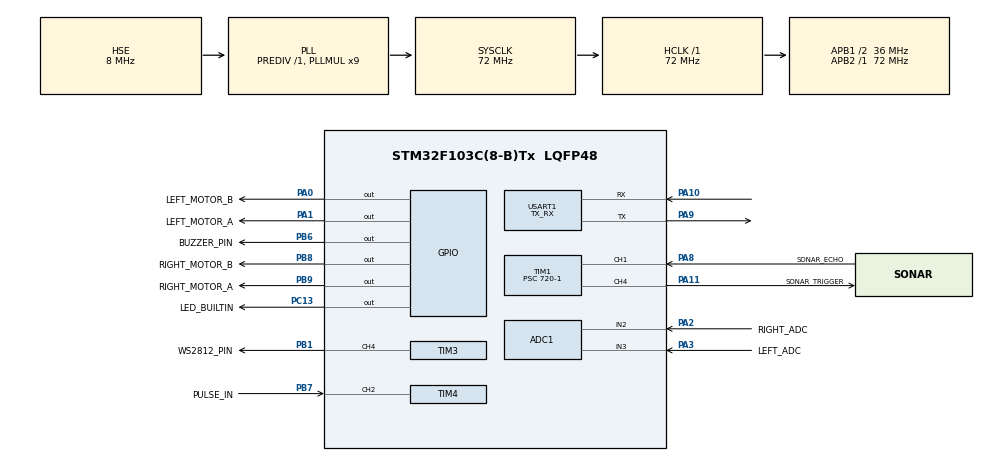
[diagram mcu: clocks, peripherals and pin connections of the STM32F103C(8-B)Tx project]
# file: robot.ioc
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ADC1.Channel-4\#ChannelRegularConversion=ADC_CHANNEL_2
ADC1.Channel-5\#ChannelRegularConversion=ADC_CHANNEL_3
ADC1.ContinuousConvMode=ENABLE
ADC1.NbrOfConversion=2
ADC1.NbrOfConversionFlag=1
ADC1.Rank-4\#ChannelRegularConversion=1
ADC1.Rank-5\#ChannelRegularConversion=2
ADC1.SamplingTime-4\#ChannelRegularConversion=ADC_SAMPLETIME_1CYCLE_5
ADC1.SamplingTime-5\#ChannelRegularConversion=ADC_SAMPLETIME_1CYCLE_5
ADC1.master=1
Dma.ADC1.0.Direction=DMA_PERIPH_TO_MEMORY
Dma.ADC1.0.Instance=DMA1_Channel1
Dma.ADC1.0.MemDataAlignment=DMA_MDATAALIGN_HALFWORD
Dma.ADC1.0.MemInc=DMA_MINC_ENABLE
Dma.ADC1.0.Mode=DMA_CIRCULAR
Dma.ADC1.0.PeriphDataAlignment=DMA_PDATAALIGN_HALFWORD
Dma.ADC1.0.PeriphInc=DMA_PINC_DISABLE
Dma.ADC1.0.Priority=DMA_PRIORITY_LOW
Dma.Request0=ADC1
Dma.Request1=TIM3_CH4/UP
Dma.TIM3_CH4/UP.1.Direction=DMA_MEMORY_TO_PERIPH
Dma.TIM3_CH4/UP.1.Instance=DMA1_Channel3
Dma.TIM3_CH4/UP.1.MemDataAlignment=DMA_MDATAALIGN_BYTE
Dma.TIM3_CH4/UP.1.MemInc=DMA_MINC_ENABLE
Dma.TIM3_CH4/UP.1.Mode=DMA_NORMAL
Dma.TIM3_CH4/UP.1.PeriphDataAlignment=DMA_PDATAALIGN_HALFWORD
Dma.TIM3_CH4/UP.1.PeriphInc=DMA_PINC_DISABLE
Dma.TIM3_CH4/UP.1.Priority=DMA_PRIORITY_MEDIUM
Mcu.Family=STM32F1
Mcu.Name=STM32F103C(8-B)Tx
Mcu.Package=LQFP48
NVIC.DMA1_Channel1_IRQn=true\:0\:0\:false\:false\:true\:false\:true\:true
NVIC.DMA1_Channel3_IRQn=true\:0\:0\:false\:false\:true\:false\:true\:true
NVIC.PriorityGroup=NVIC_PRIORITYGROUP_4
NVIC.TIM1_CC_IRQn=true\:0\:0\:false\:false\:true\:true\:true\:true
NVIC.TIM1_UP_IRQn=true\:0\:0\:false\:false\:true\:true\:true\:true
NVIC.TIM2_IRQn=true\:0\:0\:false\:false\:true\:true\:true\:true
NVIC.TIM4_IRQn=true\:0\:0\:false\:false\:true\:true\:true\:true
PA0-WKUP.GPIO_Label=LEFT_MOTOR_B
PA0-WKUP.Signal=GPIO_Output
PA1.GPIO_Label=LEFT_MOTOR_A
PA1.Signal=GPIO_Output
PA10.Mode=Asynchronous
PA10.Signal=USART1_RX
PA11.GPIO_Label=SONAR_TRIGGER
PA11.Signal=S_TIM1_CH4
PA2.GPIO_Label=RIGHT_ADC
PA2.Signal=ADCx_IN2
PA3.GPIO_Label=LEFT_ADC
PA3.Signal=ADCx_IN3
PA8.GPIO_Label=SONAR_ECHO
PA8.Signal=S_TIM1_CH1
PA9.Mode=Asynchronous
PA9.Signal=USART1_TX
PB1.GPIO_Label=WS2812_PIN
PB1.Signal=S_TIM3_CH4
PB6.GPIO_Label=BUZZER_PIN
PB6.GPIO_ModeDefaultOutputPP=GPIO_MODE_OUTPUT_PP
PB6.GPIO_PuPd=GPIO_NOPULL
PB6.PinState=GPIO_PIN_RESET
PB6.Signal=GPIO_Output
PB7.GPIO_Label=PULSE_IN
PB7.Signal=S_TIM4_CH2
PB8.GPIO_Label=RIGHT_MOTOR_B
PB8.Signal=GPIO_Output
PB9.GPIO_Label=RIGHT_MOTOR_A
PB9.Signal=GPIO_Output
PC13-TAMPER-RTC.GPIO_Label=LED_BUILTIN
PC13-TAMPER-RTC.Signal=GPIO_Output
PD0-OSC_IN.Mode=HSE-External-Oscillator
PD0-OSC_IN.Signal=RCC_OSC_IN
PD1-OSC_OUT.Mode=HSE-External-Oscillator
PD1-OSC_OUT.Signal=RCC_OSC_OUT
ProjectManager.HeapSize=0x200
ProjectManager.StackSize=0x400
ProjectManager.TargetToolchain=STM32CubeIDE
RCC.ADCPresc=RCC_ADCPCLK2_DIV6
RCC.AHBFreq_Value=72000000
RCC.APB1CLKDivider=RCC_HCLK_DIV2
RCC.APB1Freq_Value=36000000
RCC.APB1TimFreq_Value=72000000
RCC.APB2Freq_Value=72000000
RCC.APB2TimFreq_Value=72000000
RCC.HCLKFreq_Value=72000000
RCC.PLLMUL=RCC_PLL_MUL9
RCC.PLLSourceVirtual=RCC_PLLSOURCE_HSE
RCC.SYSCLKFreq_VALUE=72000000
RCC.SYSCLKSource=RCC_SYSCLKSOURCE_PLLCLK
RCC.USBFreq_Value=72000000
SH.ADCx_IN2.0=ADC1_IN2,IN2
SH.ADCx_IN3.0=ADC1_IN3,IN3
SH.S_TIM1_CH1.0=TIM1_CH1,Input_Capture1_from_TI1
SH.S_TIM1_CH4.0=TIM1_CH4,PWM Generation4 CH4
SH.S_TIM3_CH4.0=TIM3_CH4,PWM Generation4 CH4
SH.S_TIM4_CH2.0=TIM4_CH2,Input_Capture2_from_TI2
TIM1.Channel-Input_Capture1_from_TI1=TIM_CHANNEL_1
TIM1.Channel-PWM\ Generation4\ CH4=TIM_CHANNEL_4
TIM1.Period=2000-1
TIM1.Prescaler=720-1
TIM1.Pulse-PWM\ Generation4\ CH4=1
TIM2.Period=5000-1
TIM2.Prescaler=7200-1
TIM3.Channel-PWM\ Generation4\ CH4=TIM_CHANNEL_4
TIM3.Period=90-1
TIM4.Channel-Input_Capture2_from_TI2=TIM_CHANNEL_2
TIM4.ICPolarity_CH2=TIM_INPUTCHANNELPOLARITY_FALLING
TIM4.Prescaler=7200-1
USART1.Mode=MODE_TX_RX
USART1.VirtualMode=VM_ASYNC
VP_SYS_VS_ND.Mode=No_Debug
VP_TIM1_VS_ClockSourceINT.Mode=Internal
VP_TIM2_VS_ClockSourceINT.Mode=Internal
VP_TIM3_VS_ClockSourceINT.Mode=Internal
VP_TIM4_VS_ClockSourceINT.Mode=Internal
board=custom

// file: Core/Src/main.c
/* USER CODE BEGIN Header */
/**
 ******************************************************************************
 * @file           : main.c
 * @brief          : Main program body
 ******************************************************************************
 * @attention
 *
 * Copyright (c) 2023 STMicroelectronics.
 * All rights reserved.
 *
 * This software is licensed under terms that can be found in the LICENSE file
 * in the root directory of this software component.
 * If no LICENSE file comes with this software, it is provided AS-IS.
 *
 ******************************************************************************
 */
/* USER CODE END Header */
#include "main.h"

/* USER CODE BEGIN Includes */
#include <stdio.h>
#include <string.h>
#include <math.h>

/* USER CODE END Includes */

/* USER CODE BEGIN PD */
#define DEBUGGING
/* USER CODE END PD */

ADC_HandleTypeDef hadc1;
DMA_HandleTypeDef hdma_adc1;

TIM_HandleTypeDef htim1;
TIM_HandleTypeDef htim2;
TIM_HandleTypeDef htim3;
TIM_HandleTypeDef htim4;
DMA_HandleTypeDef hdma_tim3_ch4_up;

UART_HandleTypeDef huart1;

/* USER CODE BEGIN PV */
uint8_t WS2812Buffer[24 * LED_COUNT] = {0};
unsigned short LEDStep = 0;

uint16_t ADCBuffer[100];

char StringBuffer[100];

unsigned int TIM4LastFallingEdge;
unsigned int TIM4FallingEdge;
unsigned int ReceivedPeriodBuffer;
unsigned int ReceivedPeriod;

unsigned int SonarRisingEdge;
unsigned int SonarFallingEdge;
unsigned int SonarOverflowCount = 0;
long SonarPulse;
unsigned int SonarPulsePolarity = 1;

int Mode = 0; // 0 = track, 1 = controlled
/* USER CODE END PV */

void SystemClock_Config(void);
static void MX_GPIO_Init(void);
static void MX_DMA_Init(void);
static void MX_ADC1_Init(void);
static void MX_USART1_UART_Init(void);
static void MX_TIM4_Init(void);
static void MX_TIM3_Init(void);
static void MX_TIM1_Init(void);
static void MX_TIM2_Init(void);
/* USER CODE BEGIN PFP */
void SetColor(unsigned int index, unsigned short r, unsigned short g, unsigned short b);
void SetColorAll(unsigned short r, unsigned short g, unsigned short b);
void Rainbow(int length, float phase, float brightness);
void LeftMotor(int a, int b);
void RightMotor(int a, int b);
void SetTailLights(unsigned short r, unsigned short g, unsigned short b);
/* USER CODE END PFP */

int main(void)
{

    /* MCU Configuration--------------------------------------------------------*/

    /* Reset of all peripherals, Initializes the Flash interface and the Systick. */
    HAL_Init();

    /* Configure the system clock */
    SystemClock_Config();

    /* Initialize all configured peripherals */
    MX_GPIO_Init();
    MX_DMA_Init();
    MX_ADC1_Init();
    MX_USART1_UART_Init();
    MX_TIM4_Init();
    MX_TIM3_Init();
    MX_TIM1_Init();
    MX_TIM2_Init();
    /* USER CODE BEGIN 2 */
    HAL_ADC_Start_DMA(&hadc1, ADCBuffer, ARRAYLEN(ADCBuffer));

    LEFTSTOP();
    RIGHTSTOP();

    SetColorAll(0, 0, 0);

    sprintf(StringBuffer, "Start\r\n");
    HAL_UART_Transmit(&huart1, StringBuffer, strlen(StringBuffer), 10);
    /* USER CODE END 2 */

    /* Infinite loop */
    /* USER CODE BEGIN WHILE */
    while (1)
    {
        switch (Mode)
        {
        case 0: // tracking mode
            if (SonarPulse < 40)
            {
                HAL_GPIO_WritePin(BUZZER_PIN_GPIO_Port, BUZZER_PIN_Pin, 1);
            }
            else
            {
                HAL_GPIO_WritePin(BUZZER_PIN_GPIO_Port, BUZZER_PIN_Pin, 0);
            }
#ifdef DEBUGGING
            sprintf(StringBuffer, "Mode 0 ADC: %4d %4d Sonar: %d OV: %d\r\n", LEFTADC, RIGHTADC, SonarPulse, SonarOverflowCount);
            HAL_UART_Transmit(&huart1, StringBuffer, strlen(StringBuffer), 10);
            HAL_Delay(10);
#endif

            if (LEFTADC < TARGETADCLEFT - DEADZONE)
            {
                LEFTFORWARD();
            }
            else if (LEFTADC > TARGETADCLEFT + DEADZONE)
            {
                LEFTREVERSE();
            }
            else
            {
                LEFTSTOP();
            }

            if (RIGHTADC < TARGETADCRIGHT - DEADZONE)
            {
                RIGHTFORWARD();
            }
            else if (RIGHTADC > TARGETADCRIGHT + DEADZONE)
            {
                RIGHTREVERSE();
            }
            else
            {
                RIGHTSTOP();
            }
            break;
        case 1: // controlled mode
#ifdef DEBUGGING
            sprintf(StringBuffer, "Mode 1 PeriodB: %4d Period: %4d\r\n", ReceivedPeriodBuffer, ReceivedPeriod);
            HAL_UART_Transmit(&huart1, StringBuffer, strlen(StringBuffer), 10);
            HAL_Delay(10);
#endif
            ReceivedPeriod = ReceivedPeriodBuffer;
            if (COMPARE(ReceivedPeriod, 600, 25)) // forward
            {
                if (SonarPulse > 30)
                {
                    LEFTFORWARD();
                    RIGHTFORWARD();
                    SetTailLights(0, 0, 0);
                    HAL_GPIO_WritePin(BUZZER_PIN_GPIO_Port, BUZZER_PIN_Pin, 0);
                }
                else
                {
                    SetTailLights(30, 0, 0);
                    HAL_GPIO_WritePin(BUZZER_PIN_GPIO_Port, BUZZER_PIN_Pin, 1);
                }
            }
            else if (COMPARE(ReceivedPeriod, 650, 25)) // forward right
            {
                LEFTFORWARD();
                RIGHTSTOP();
                SetTailLights(0, 0, 0);
                HAL_GPIO_WritePin(BUZZER_PIN_GPIO_Port, BUZZER_PIN_Pin, 0);
            }
            else if (COMPARE(ReceivedPeriod, 700, 25)) // right
            {
                LEFTFORWARD();
                RIGHTREVERSE();
                SetTailLights(0, 0, 0);
                HAL_GPIO_WritePin(BUZZER_PIN_GPIO_Port, BUZZER_PIN_Pin, 0);
            }
            else if (COMPARE(ReceivedPeriod, 750, 25)) // reverse right
            {
                LEFTSTOP();
                RIGHTREVERSE();
                SetTailLights(10, 10, 10);
                HAL_GPIO_WritePin(BUZZER_PIN_GPIO_Port, BUZZER_PIN_Pin, 1);
            }
            else if (COMPARE(ReceivedPeriod, 800, 25)) // reverse
            {
                LEFTREVERSE();
                RIGHTREVERSE();
                SetTailLights(10, 10, 10);
                HAL_GPIO_WritePin(BUZZER_PIN_GPIO_Port, BUZZER_PIN_Pin, 1);
            }
            else if (COMPARE(ReceivedPeriod, 850, 25)) // reverse left
            {
                LEFTREVERSE();
                RIGHTSTOP();
                SetTailLights(10, 10, 10);
                HAL_GPIO_WritePin(BUZZER_PIN_GPIO_Port, BUZZER_PIN_Pin, 1);
            }
            else if (COMPARE(ReceivedPeriod, 900, 25)) // left
            {
                LEFTREVERSE();
                RIGHTFORWARD();
                SetTailLights(0, 0, 0);
                HAL_GPIO_WritePin(BUZZER_PIN_GPIO_Port, BUZZER_PIN_Pin, 0);
            }
            else if (COMPARE(ReceivedPeriod, 950, 25)) // forward left
            {
                LEFTSTOP();
                RIGHTFORWARD();
                SetTailLights(0, 0, 0);
                HAL_GPIO_WritePin(BUZZER_PIN_GPIO_Port, BUZZER_PIN_Pin, 0);
            }
            else // stop
            {
                LEFTSTOP();
                RIGHTSTOP();
                SetTailLights(30, 0, 0);
                HAL_GPIO_WritePin(BUZZER_PIN_GPIO_Port, BUZZER_PIN_Pin, 0);
            }
            break;
        default:
            break;
        }

        /* USER CODE END WHILE */

    }
}

void SystemClock_Config(void)
{
    RCC_OscInitTypeDef RCC_OscInitStruct = {0};
    RCC_ClkInitTypeDef RCC_ClkInitStruct = {0};
    RCC_PeriphCLKInitTypeDef PeriphClkInit = {0};

    /** Initializes the RCC Oscillators according to the specified parameters
     * in the RCC_OscInitTypeDef structure.
     */
    RCC_OscInitStruct.OscillatorType = RCC_OSCILLATORTYPE_HSE;
    RCC_OscInitStruct.HSEState = RCC_HSE_ON;
    RCC_OscInitStruct.HSEPredivValue = RCC_HSE_PREDIV_DIV1;
    RCC_OscInitStruct.HSIState = RCC_HSI_ON;
    RCC_OscInitStruct.PLL.PLLState = RCC_PLL_ON;
    RCC_OscInitStruct.PLL.PLLSource = RCC_PLLSOURCE_HSE;
    RCC_OscInitStruct.PLL.PLLMUL = RCC_PLL_MUL9;
    if (HAL_RCC_OscConfig(&RCC_OscInitStruct) != HAL_OK)
    {
        Error_Handler();
    }

    /** Initializes the CPU, AHB and APB buses clocks
     */
    RCC_ClkInitStruct.ClockType = RCC_CLOCKTYPE_HCLK | RCC_CLOCKTYPE_SYSCLK | RCC_CLOCKTYPE_PCLK1 | RCC_CLOCKTYPE_PCLK2;
    RCC_ClkInitStruct.SYSCLKSource = RCC_SYSCLKSOURCE_PLLCLK;
    RCC_ClkInitStruct.AHBCLKDivider = RCC_SYSCLK_DIV1;
    RCC_ClkInitStruct.APB1CLKDivider = RCC_HCLK_DIV2;
    RCC_ClkInitStruct.APB2CLKDivider = RCC_HCLK_DIV1;

    if (HAL_RCC_ClockConfig(&RCC_ClkInitStruct, FLASH_LATENCY_2) != HAL_OK)
    {
        Error_Handler();
    }
    PeriphClkInit.PeriphClockSelection = RCC_PERIPHCLK_ADC;
    PeriphClkInit.AdcClockSelection = RCC_ADCPCLK2_DIV6;
    if (HAL_RCCEx_PeriphCLKConfig(&PeriphClkInit) != HAL_OK)
    {
        Error_Handler();
    }
}

static void MX_ADC1_Init(void)
{

    ADC_ChannelConfTypeDef sConfig = {0};

    /** Common config
     */
    hadc1.Instance = ADC1;
    hadc1.Init.ScanConvMode = ADC_SCAN_ENABLE;
    hadc1.Init.ContinuousConvMode = ENABLE;
    hadc1.Init.DiscontinuousConvMode = DISABLE;
    hadc1.Init.ExternalTrigConv = ADC_SOFTWARE_START;
    hadc1.Init.DataAlign = ADC_DATAALIGN_RIGHT;
    hadc1.Init.NbrOfConversion = 2;
    if (HAL_ADC_Init(&hadc1) != HAL_OK)
    {
        Error_Handler();
    }

    /** Configure Regular Channel
     */
    sConfig.Channel = ADC_CHANNEL_2;
    sConfig.Rank = ADC_REGULAR_RANK_1;
    sConfig.SamplingTime = ADC_SAMPLETIME_1CYCLE_5;
    if (HAL_ADC_ConfigChannel(&hadc1, &sConfig) != HAL_OK)
    {
        Error_Handler();
    }

    /** Configure Regular Channel
     */
    sConfig.Channel = ADC_CHANNEL_3;
    sConfig.Rank = ADC_REGULAR_RANK_2;
    if (HAL_ADC_ConfigChannel(&hadc1, &sConfig) != HAL_OK)
    {
        Error_Handler();
    }
}

static void MX_TIM1_Init(void)
{

    TIM_ClockConfigTypeDef sClockSourceConfig = {0};
    TIM_MasterConfigTypeDef sMasterConfig = {0};
    TIM_IC_InitTypeDef sConfigIC = {0};
    TIM_OC_InitTypeDef sConfigOC = {0};
    TIM_BreakDeadTimeConfigTypeDef sBreakDeadTimeConfig = {0};

    htim1.Instance = TIM1;
    htim1.Init.Prescaler = 720 - 1;
    htim1.Init.CounterMode = TIM_COUNTERMODE_UP;
    htim1.Init.Period = 2000 - 1;
    htim1.Init.ClockDivision = TIM_CLOCKDIVISION_DIV1;
    htim1.Init.RepetitionCounter = 0;
    htim1.Init.AutoReloadPreload = TIM_AUTORELOAD_PRELOAD_DISABLE;
    if (HAL_TIM_Base_Init(&htim1) != HAL_OK)
    {
        Error_Handler();
    }
    sClockSourceConfig.ClockSource = TIM_CLOCKSOURCE_INTERNAL;
    if (HAL_TIM_ConfigClockSource(&htim1, &sClockSourceConfig) != HAL_OK)
    {
        Error_Handler();
    }
    if (HAL_TIM_IC_Init(&htim1) != HAL_OK)
    {
        Error_Handler();
    }
    if (HAL_TIM_PWM_Init(&htim1) != HAL_OK)
    {
        Error_Handler();
    }
    sMasterConfig.MasterOutputTrigger = TIM_TRGO_RESET;
    sMasterConfig.MasterSlaveMode = TIM_MASTERSLAVEMODE_DISABLE;
    if (HAL_TIMEx_MasterConfigSynchronization(&htim1, &sMasterConfig) != HAL_OK)
    {
        Error_Handler();
    }
    sConfigIC.ICPolarity = TIM_INPUTCHANNELPOLARITY_RISING;
    sConfigIC.ICSelection = TIM_ICSELECTION_DIRECTTI;
    sConfigIC.ICPrescaler = TIM_ICPSC_DIV1;
    sConfigIC.ICFilter = 0;
    if (HAL_TIM_IC_ConfigChannel(&htim1, &sConfigIC, TIM_CHANNEL_1) != HAL_OK)
    {
        Error_Handler();
    }
    sConfigOC.OCMode = TIM_OCMODE_PWM1;
    sConfigOC.Pulse = 1;
    sConfigOC.OCPolarity = TIM_OCPOLARITY_HIGH;
    sConfigOC.OCFastMode = TIM_OCFAST_DISABLE;
    sConfigOC.OCIdleState = TIM_OCIDLESTATE_RESET;
    sConfigOC.OCNIdleState = TIM_OCNIDLESTATE_RESET;
    if (HAL_TIM_PWM_ConfigChannel(&htim1, &sConfigOC, TIM_CHANNEL_4) != HAL_OK)
    {
        Error_Handler();
    }
    sBreakDeadTimeConfig.OffStateRunMode = TIM_OSSR_DISABLE;
    sBreakDeadTimeConfig.OffStateIDLEMode = TIM_OSSI_DISABLE;
    sBreakDeadTimeConfig.LockLevel = TIM_LOCKLEVEL_OFF;
    sBreakDeadTimeConfig.DeadTime = 0;
    sBreakDeadTimeConfig.BreakState = TIM_BREAK_DISABLE;
    sBreakDeadTimeConfig.BreakPolarity = TIM_BREAKPOLARITY_HIGH;
    sBreakDeadTimeConfig.AutomaticOutput = TIM_AUTOMATICOUTPUT_DISABLE;
    if (HAL_TIMEx_ConfigBreakDeadTime(&htim1, &sBreakDeadTimeConfig) != HAL_OK)
    {
        Error_Handler();
    }
    /* USER CODE BEGIN TIM1_Init 2 */
    HAL_TIM_Base_Start_IT(&htim1);
    HAL_TIM_IC_Start_IT(&htim1, TIM_CHANNEL_1);
    HAL_TIM_PWM_Start(&htim1, TIM_CHANNEL_4);
    /* USER CODE END TIM1_Init 2 */
    HAL_TIM_MspPostInit(&htim1);
}

static void MX_TIM2_Init(void)
{

    TIM_ClockConfigTypeDef sClockSourceConfig = {0};
    TIM_MasterConfigTypeDef sMasterConfig = {0};

    htim2.Instance = TIM2;
    htim2.Init.Prescaler = 7200 - 1;
    htim2.Init.CounterMode = TIM_COUNTERMODE_UP;
    htim2.Init.Period = 5000 - 1;
    htim2.Init.ClockDivision = TIM_CLOCKDIVISION_DIV1;
    htim2.Init.AutoReloadPreload = TIM_AUTORELOAD_PRELOAD_DISABLE;
    if (HAL_TIM_Base_Init(&htim2) != HAL_OK)
    {
        Error_Handler();
    }
    sClockSourceConfig.ClockSource = TIM_CLOCKSOURCE_INTERNAL;
    if (HAL_TIM_ConfigClockSource(&htim2, &sClockSourceConfig) != HAL_OK)
    {
        Error_Handler();
    }
    sMasterConfig.MasterOutputTrigger = TIM_TRGO_RESET;
    sMasterConfig.MasterSlaveMode = TIM_MASTERSLAVEMODE_DISABLE;
    if (HAL_TIMEx_MasterConfigSynchronization(&htim2, &sMasterConfig) != HAL_OK)
    {
        Error_Handler();
    }
    /* USER CODE BEGIN TIM2_Init 2 */
    HAL_TIM_Base_Start_IT(&htim2);
    /* USER CODE END TIM2_Init 2 */
}

static void MX_TIM3_Init(void)
{

    TIM_ClockConfigTypeDef sClockSourceConfig = {0};
    TIM_MasterConfigTypeDef sMasterConfig = {0};
    TIM_OC_InitTypeDef sConfigOC = {0};

    htim3.Instance = TIM3;
    htim3.Init.Prescaler = 0;
    htim3.Init.CounterMode = TIM_COUNTERMODE_UP;
    htim3.Init.Period = 90 - 1;
    htim3.Init.ClockDivision = TIM_CLOCKDIVISION_DIV1;
    htim3.Init.AutoReloadPreload = TIM_AUTORELOAD_PRELOAD_DISABLE;
    if (HAL_TIM_Base_Init(&htim3) != HAL_OK)
    {
        Error_Handler();
    }
    sClockSourceConfig.ClockSource = TIM_CLOCKSOURCE_INTERNAL;
    if (HAL_TIM_ConfigClockSource(&htim3, &sClockSourceConfig) != HAL_OK)
    {
        Error_Handler();
    }
    if (HAL_TIM_PWM_Init(&htim3) != HAL_OK)
    {
        Error_Handler();
    }
    sMasterConfig.MasterOutputTrigger = TIM_TRGO_RESET;
    sMasterConfig.MasterSlaveMode = TIM_MASTERSLAVEMODE_DISABLE;
    if (HAL_TIMEx_MasterConfigSynchronization(&htim3, &sMasterConfig) != HAL_OK)
    {
        Error_Handler();
    }
    sConfigOC.OCMode = TIM_OCMODE_PWM1;
    sConfigOC.Pulse = 0;
    sConfigOC.OCPolarity = TIM_OCPOLARITY_HIGH;
    sConfigOC.OCFastMode = TIM_OCFAST_DISABLE;
    if (HAL_TIM_PWM_ConfigChannel(&htim3, &sConfigOC, TIM_CHANNEL_4) != HAL_OK)
    {
        Error_Handler();
    }
    HAL_TIM_MspPostInit(&htim3);
}

static void MX_TIM4_Init(void)
{

    TIM_ClockConfigTypeDef sClockSourceConfig = {0};
    TIM_MasterConfigTypeDef sMasterConfig = {0};
    TIM_IC_InitTypeDef sConfigIC = {0};

    htim4.Instance = TIM4;
    htim4.Init.Prescaler = 7200 - 1;
    htim4.Init.CounterMode = TIM_COUNTERMODE_UP;
    htim4.Init.Period = 65535;
    htim4.Init.ClockDivision = TIM_CLOCKDIVISION_DIV1;
    htim4.Init.AutoReloadPreload = TIM_AUTORELOAD_PRELOAD_DISABLE;
    if (HAL_TIM_Base_Init(&htim4) != HAL_OK)
    {
        Error_Handler();
    }
    sClockSourceConfig.ClockSource = TIM_CLOCKSOURCE_INTERNAL;
    if (HAL_TIM_ConfigClockSource(&htim4, &sClockSourceConfig) != HAL_OK)
    {
        Error_Handler();
    }
    if (HAL_TIM_IC_Init(&htim4) != HAL_OK)
    {
        Error_Handler();
    }
    sMasterConfig.MasterOutputTrigger = TIM_TRGO_RESET;
    sMasterConfig.MasterSlaveMode = TIM_MASTERSLAVEMODE_DISABLE;
    if (HAL_TIMEx_MasterConfigSynchronization(&htim4, &sMasterConfig) != HAL_OK)
    {
        Error_Handler();
    }
    sConfigIC.ICPolarity = TIM_INPUTCHANNELPOLARITY_FALLING;
    sConfigIC.ICSelection = TIM_ICSELECTION_DIRECTTI;
    sConfigIC.ICPrescaler = TIM_ICPSC_DIV1;
    sConfigIC.ICFilter = 0;
    if (HAL_TIM_IC_ConfigChannel(&htim4, &sConfigIC, TIM_CHANNEL_2) != HAL_OK)
    {
        Error_Handler();
    }
    /* USER CODE BEGIN TIM4_Init 2 */
    HAL_TIM_Base_Start_IT(&htim4);
    HAL_TIM_IC_Start_IT(&htim4, TIM_CHANNEL_2);
    /* USER CODE END TIM4_Init 2 */
}

static void MX_USART1_UART_Init(void)
{

    huart1.Instance = USART1;
    huart1.Init.BaudRate = 115200;
    huart1.Init.WordLength = UART_WORDLENGTH_8B;
    huart1.Init.StopBits = UART_STOPBITS_1;
    huart1.Init.Parity = UART_PARITY_NONE;
    huart1.Init.Mode = UART_MODE_TX_RX;
    huart1.Init.HwFlowCtl = UART_HWCONTROL_NONE;
    huart1.Init.OverSampling = UART_OVERSAMPLING_16;
    if (HAL_UART_Init(&huart1) != HAL_OK)
    {
        Error_Handler();
    }
}

static void MX_DMA_Init(void)
{

    /* DMA controller clock enable */
    __HAL_RCC_DMA1_CLK_ENABLE();

    /* DMA interrupt init */
    /* DMA1_Channel1_IRQn interrupt configuration */
    HAL_NVIC_SetPriority(DMA1_Channel1_IRQn, 0, 0);
    HAL_NVIC_EnableIRQ(DMA1_Channel1_IRQn);
    /* DMA1_Channel3_IRQn interrupt configuration */
    HAL_NVIC_SetPriority(DMA1_Channel3_IRQn, 0, 0);
    HAL_NVIC_EnableIRQ(DMA1_Channel3_IRQn);
}

static void MX_GPIO_Init(void)
{
    GPIO_InitTypeDef GPIO_InitStruct = {0};

    /* GPIO Ports Clock Enable */
    __HAL_RCC_GPIOC_CLK_ENABLE();
    __HAL_RCC_GPIOD_CLK_ENABLE();
    __HAL_RCC_GPIOA_CLK_ENABLE();
    __HAL_RCC_GPIOB_CLK_ENABLE();

    /*Configure GPIO pin Output Level */
    HAL_GPIO_WritePin(LED_BUILTIN_GPIO_Port, LED_BUILTIN_Pin, GPIO_PIN_RESET);

    /*Configure GPIO pin Output Level */
    HAL_GPIO_WritePin(GPIOA, LEFT_MOTOR_B_Pin | LEFT_MOTOR_A_Pin, GPIO_PIN_RESET);

    /*Configure GPIO pin Output Level */
    HAL_GPIO_WritePin(GPIOB, BUZZER_PIN_Pin | RIGHT_MOTOR_B_Pin | RIGHT_MOTOR_A_Pin, GPIO_PIN_RESET);

    /*Configure GPIO pin : LED_BUILTIN_Pin */
    GPIO_InitStruct.Pin = LED_BUILTIN_Pin;
    GPIO_InitStruct.Mode = GPIO_MODE_OUTPUT_PP;
    GPIO_InitStruct.Pull = GPIO_NOPULL;
    GPIO_InitStruct.Speed = GPIO_SPEED_FREQ_LOW;
    HAL_GPIO_Init(LED_BUILTIN_GPIO_Port, &GPIO_InitStruct);

    /*Configure GPIO pins : LEFT_MOTOR_B_Pin LEFT_MOTOR_A_Pin */
    GPIO_InitStruct.Pin = LEFT_MOTOR_B_Pin | LEFT_MOTOR_A_Pin;
    GPIO_InitStruct.Mode = GPIO_MODE_OUTPUT_PP;
    GPIO_InitStruct.Pull = GPIO_NOPULL;
    GPIO_InitStruct.Speed = GPIO_SPEED_FREQ_LOW;
    HAL_GPIO_Init(GPIOA, &GPIO_InitStruct);

    /*Configure GPIO pins : BUZZER_PIN_Pin RIGHT_MOTOR_B_Pin RIGHT_MOTOR_A_Pin */
    GPIO_InitStruct.Pin = BUZZER_PIN_Pin | RIGHT_MOTOR_B_Pin | RIGHT_MOTOR_A_Pin;
    GPIO_InitStruct.Mode = GPIO_MODE_OUTPUT_PP;
    GPIO_InitStruct.Pull = GPIO_NOPULL;
    GPIO_InitStruct.Speed = GPIO_SPEED_FREQ_LOW;
    HAL_GPIO_Init(GPIOB, &GPIO_InitStruct);

}

/* USER CODE BEGIN 4 */

void SetColor(unsigned int index, unsigned short r, unsigned short g, unsigned short b)
{
    for (int mask = 0b10000000, i = 0; mask > 0; mask >>= 1, i++)
    {
        if (g & mask)
            WS2812Buffer[index * 24 + i] = WS2812_HIGH_BIT;
        else
            WS2812Buffer[index * 24 + i] = WS2812_LOW_BIT;
        if (r & mask)
            WS2812Buffer[index * 24 + 8 + i] = WS2812_HIGH_BIT;
        else
            WS2812Buffer[index * 24 + 8 + i] = WS2812_LOW_BIT;
        if (b & mask)
            WS2812Buffer[index * 24 + 16 + i] = WS2812_HIGH_BIT;
        else
            WS2812Buffer[index * 24 + 16 + i] = WS2812_LOW_BIT;
    }
}

void SetColorAll(unsigned short r, unsigned short g, unsigned short b)
{
    for (int i = 0; i < LED_COUNT; i++)
    {
        SetColor(i, r, g, b);
    }
}

void Rainbow(int length, float phase, float brightness)
{
    for (int i = 0; i < LED_COUNT; i++)
    {
        SetColor(i,
                 (unsigned short)(brightness * (cos(2 * M_PI * (phase + (float)i / length)) * 0xff + 0x7f)),
                 (unsigned short)(brightness * (cos(2 * M_PI * (phase + (float)i / length - 1.0 / 3)) * 0xff + 0x7f)),
                 (unsigned short)(brightness * (cos(2 * M_PI * (phase + (float)i / length - 2.0 / 3)) * 0xff + 0x7f)));
    }
}

void SetTailLights(unsigned short r, unsigned short g, unsigned short b)
{
    SetColor(0, r, g, b);
    SetColor(1, r, g, b);
}

void LeftMotor(int a, int b)
{
    HAL_GPIO_WritePin(LEFT_MOTOR_A_GPIO_Port, LEFT_MOTOR_A_Pin, a);
    HAL_GPIO_WritePin(LEFT_MOTOR_B_GPIO_Port, LEFT_MOTOR_B_Pin, b);
}

void RightMotor(int a, int b)
{
    HAL_GPIO_WritePin(RIGHT_MOTOR_A_GPIO_Port, RIGHT_MOTOR_A_Pin, a);
    HAL_GPIO_WritePin(RIGHT_MOTOR_B_GPIO_Port, RIGHT_MOTOR_B_Pin, b);
}

void HAL_TIM_PWM_PulseFinishedCallback(TIM_HandleTypeDef *htim)
{
    if (htim == &htim3)
    {
        __HAL_TIM_SetCompare(&htim3, TIM_CHANNEL_4, 0);
        HAL_TIM_PWM_Stop_DMA(&htim3, TIM_CHANNEL_4);
    }
}

void HAL_TIM_PeriodElapsedCallback(TIM_HandleTypeDef *htim)
{
    if (htim == &htim2)
    {
#ifdef DEBUGGING
        // sprintf(StringBuffer, "tim2 overflows\r\n");
        // HAL_UART_Transmit(&huart1, StringBuffer, strlen(StringBuffer), 10);
#endif
        if (HAL_GPIO_ReadPin(PULSE_IN_GPIO_Port, PULSE_IN_Pin) == 1)
            Mode = 0;
    }
    if (htim == &htim1)
    {
#ifdef DEBUGGING
        // sprintf(StringBuffer, "tim1 overflows %d\r\n", __HAL_TIM_GetCounter(&htim1));
        // HAL_UART_Transmit(&huart1, StringBuffer, strlen(StringBuffer), 10);
#endif
        SonarOverflowCount++;
        LEDStep += 1;
        switch (Mode)
        {
        case 0:
            SetColorAll(
                (unsigned short)(0.15 * (cos(2 * M_PI * (LEDStep / 255.0)) * 0xff + 0x7f)),
                (unsigned short)(0.15 * (cos(2 * M_PI * (LEDStep / 255.0 - 1.0 / 3)) * 0xff + 0x7f)),
                (unsigned short)(0.15 * (cos(2 * M_PI * (LEDStep / 255.0 - 2.0 / 3)) * 0xff + 0x7f)));
            break;
        case 1:
            SetColor(2,
                     (unsigned short)(0.15 * (cos(2 * M_PI * (LEDStep / 255.0)) * 0xff + 0x7f)),
                     (unsigned short)(0.15 * (cos(2 * M_PI * (LEDStep / 255.0 - 1.0 / 3)) * 0xff + 0x7f)),
                     (unsigned short)(0.15 * (cos(2 * M_PI * (LEDStep / 255.0 - 2.0 / 3)) * 0xff + 0x7f)));
            break;
        default:
            break;
        }
        HAL_TIM_PWM_Start_DMA(&htim3, TIM_CHANNEL_4, (uint32_t *)WS2812Buffer, ARRAYLEN(WS2812Buffer));
    }
}

void HAL_TIM_IC_CaptureCallback(TIM_HandleTypeDef *htim)
{
    if (htim == &htim1)
    {
        if (htim->Channel == HAL_TIM_ACTIVE_CHANNEL_1)
        {
            if (SonarPulsePolarity == 1)
            {
                SonarRisingEdge = HAL_TIM_ReadCapturedValue(&htim1, TIM_CHANNEL_1);
                SonarPulsePolarity = 0;
                SonarOverflowCount = 0;
                __HAL_TIM_SET_CAPTUREPOLARITY(&htim1, TIM_CHANNEL_1, TIM_INPUTCHANNELPOLARITY_FALLING);
#ifdef DEBUGGING
                HAL_GPIO_WritePin(LED_BUILTIN_GPIO_Port, LED_BUILTIN_Pin, 1);
#endif
            }
            else
            {
                SonarFallingEdge = HAL_TIM_ReadCapturedValue(&htim1, TIM_CHANNEL_1);
                SonarPulse = SonarOverflowCount * 2000 + SonarFallingEdge - SonarRisingEdge;
                SonarPulsePolarity = 1;
                __HAL_TIM_SET_CAPTUREPOLARITY(&htim1, TIM_CHANNEL_1, TIM_INPUTCHANNELPOLARITY_RISING);
#ifdef DEBUGGING
                HAL_GPIO_WritePin(LED_BUILTIN_GPIO_Port, LED_BUILTIN_Pin, 0);
#endif
            }
        }
    }
    if (htim == &htim4)
    {
        if (htim->Channel == HAL_TIM_ACTIVE_CHANNEL_2) // falling edge
        {
            TIM4FallingEdge = HAL_TIM_ReadCapturedValue(&htim4, TIM_CHANNEL_2);
            ReceivedPeriodBuffer = TIM4FallingEdge - TIM4LastFallingEdge;
            TIM4LastFallingEdge = TIM4FallingEdge;

#ifdef DEBUGGING
            // sprintf(StringBuffer, "tim4 ch2 %4d %4d\r\n", ReceivedPeriodBuffer, TIM4FallingEdge);
            // HAL_UART_Transmit(&huart1, StringBuffer, strlen(StringBuffer), 10);
#endif
            Mode = 1;
            __HAL_TIM_SetCounter(&htim2, 0);
        }
    }
}

// void HAL_ADC_ConvHalfCpltCallback(ADC_HandleTypeDef *hadc)
// {
// }

// void HAL_ADC_ConvCpltCallback(ADC_HandleTypeDef *hadc)
// {
// }

/* USER CODE END 4 */

void Error_Handler(void)
{
    __disable_irq();
    while (1)
    {
    }
}
